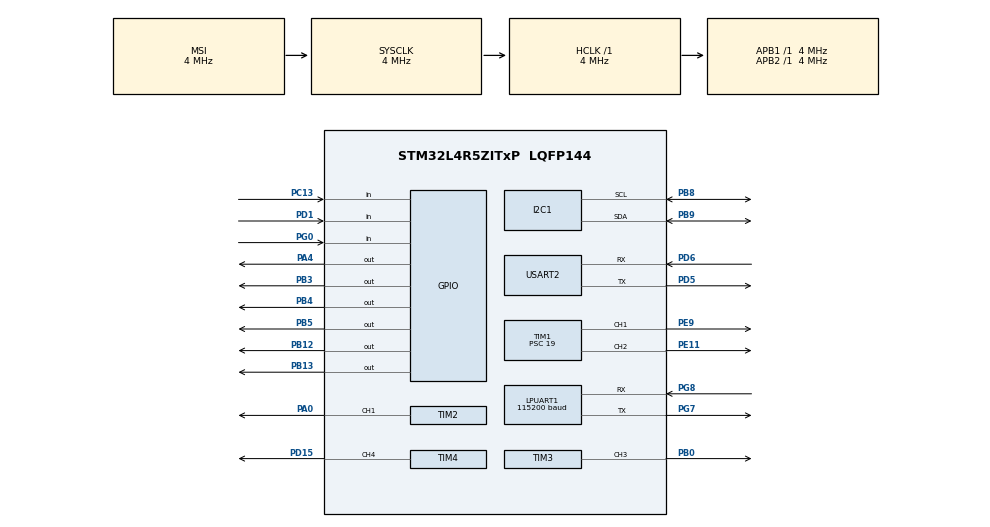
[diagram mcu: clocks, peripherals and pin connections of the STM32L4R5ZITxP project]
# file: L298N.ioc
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I2C1.CustomTiming=Disabled
LPUART1.BaudRate=115200
LPUART1.WordLength=UART_WORDLENGTH_8B
Mcu.Family=STM32L4
Mcu.Name=STM32L4R5ZITxP
Mcu.Package=LQFP144
NVIC.PriorityGroup=NVIC_PRIORITYGROUP_4
NVIC.USART2_IRQn=true\:0\:0\:false\:false\:true\:true\:true
PA0.Signal=S_TIM2_CH1
PA1.Signal=ADCx_IN6
PA10.Signal=USB_OTG_FS_ID
PA13\ (JTMS/SWDIO).Signal=SYS_JTMS-SWDIO
PA14\ (JTCK/SWCLK).Signal=SYS_JTCK-SWCLK
PA3.Signal=ADCx_IN8
PA4.Signal=GPIO_Output
PA5.Signal=SPI1_SCK
PA6.Signal=SPI1_MISO
PA7.Signal=SPI1_MOSI
PA8.Signal=USB_OTG_FS_SOF
PA9.Signal=USB_OTG_FS_VBUS
PB0.Signal=S_TIM3_CH3
PB1.Signal=ADCx_IN16
PB10.Signal=S_TIM2_CH3
PB12.Signal=GPIO_Output
PB13.Signal=GPIO_Output
PB14.Signal=S_TIM15_CH1
PB15.Signal=SAI2_SD_A
PB2.Signal=COMP1_INP
PB3\ (JTDO/TRACESWO).Signal=GPIO_Output
PB4\ (NJTRST).Signal=GPIO_Output
PB5.Signal=GPIO_Output
PB6.Signal=COMP2_INP
PB8.Mode=I2C
PB8.Signal=I2C1_SCL
PB9.Mode=I2C
PB9.Signal=I2C1_SDA
PC0.Signal=ADCx_IN1
PC1.Signal=ADCx_IN2
PC10.Signal=SDMMC1_D2
PC11.Signal=SDMMC1_D3
PC12.Signal=SDMMC1_CK
PC13.Signal=GPIO_Input
PC14-OSC32_IN\ (PC14).Signal=RCC_OSC32_IN
PC15-OSC32_OUT\ (PC15).Signal=RCC_OSC32_OUT
PC2.Signal=ADCx_IN3
PC3.Signal=ADCx_IN4
PC4.Signal=ADCx_IN13
PC5.Signal=ADCx_IN14
PC6.Signal=SAI2_MCLK_A
PC7.Signal=S_TIM3_CH2
PC8.Signal=SDMMC1_D0
PC9.Signal=SDMMC1_D1
PD0.Signal=CAN1_RX
PD1.Signal=GPIO_Input
PD14.Signal=S_TIM4_CH3
PD15.Signal=S_TIM4_CH4
PD2.Signal=SDMMC1_CMD
PD3.Signal=USART2_CTS
PD4.Signal=USART2_RTS
PD5.Mode=Asynchronous
PD5.Signal=USART2_TX
PD6.Mode=Asynchronous
PD6.Signal=USART2_RX
PD8.Signal=USART3_TX
PD9.Signal=USART3_RX
PE0.Signal=S_TIM4_ETR
PE10.Signal=TIM1_CH2N
PE11.Signal=S_TIM1_CH2
PE12.Signal=TIM1_CH3N
PE13.Signal=S_TIM1_CH3
PE14.Signal=TIM1_BKIN2
PE15.Signal=TIM1_BKIN
PE2.Signal=SAI1_MCLK_A
PE3.Signal=SAI1_SD_B
PE7.Signal=S_TIM1_ETR
PE8.Signal=TIM1_CH1N
PE9.Signal=S_TIM1_CH1
PF0.Signal=I2C2_SDA
PF1.Signal=I2C2_SCL
PF2.Signal=I2C2_SMBA
PF7.Signal=SAI1_MCLK_B
PG0.Signal=GPIO_Input
PG7.Mode=Asynchronous
PG7.Signal=LPUART1_TX
PG8.Mode=Asynchronous
PG8.Signal=LPUART1_RX
PH0-OSC_IN\ (PH0).Signal=RCC_OSC_IN
PH1-OSC_OUT\ (PH1).Signal=RCC_OSC_OUT
ProjectManager.HeapSize=0x200
ProjectManager.StackSize=0x400
ProjectManager.TargetToolchain=STM32CubeIDE
RCC.ADCFreq_Value=16000000
RCC.AHBFreq_Value=4000000
RCC.APB1Freq_Value=4000000
RCC.APB1TimFreq_Value=4000000
RCC.APB2Freq_Value=4000000
RCC.APB2TimFreq_Value=4000000
RCC.CortexFreq_Value=4000000
RCC.HCLKFreq_Value=4000000
RCC.HSE_VALUE=8000000
RCC.HSI48_VALUE=48000000
RCC.HSI_VALUE=16000000
RCC.LSE_VALUE=32768
RCC.MSI_VALUE=4000000
RCC.SYSCLKFreq_VALUE=4000000
RCC.USBFreq_Value=16000000
RCC.VCOOutputFreq_Value=32000000
SH.ADCx_IN1.0=ADC1_IN1
SH.ADCx_IN13.0=ADC1_IN13
SH.ADCx_IN14.0=ADC1_IN14
SH.ADCx_IN16.0=ADC1_IN16
SH.ADCx_IN2.0=ADC1_IN2
SH.ADCx_IN3.0=ADC1_IN3
SH.ADCx_IN4.0=ADC1_IN4
SH.ADCx_IN6.0=ADC1_IN6
SH.ADCx_IN8.0=ADC1_IN8
SH.S_TIM15_CH1.0=TIM15_CH1
SH.S_TIM1_CH1.0=TIM1_CH1,PWM Generation1 CH1
SH.S_TIM1_CH2.0=TIM1_CH2,PWM Generation2 CH2
SH.S_TIM1_CH3.0=TIM1_CH3
SH.S_TIM1_ETR.0=TIM1_ETR
SH.S_TIM2_CH1.0=TIM2_CH1,PWM Generation1 CH1
SH.S_TIM2_CH3.0=TIM2_CH3
SH.S_TIM3_CH2.0=TIM3_CH2
SH.S_TIM3_CH3.0=TIM3_CH3,PWM Generation3 CH3
SH.S_TIM4_CH3.0=TIM4_CH3
SH.S_TIM4_CH4.0=TIM4_CH4,PWM Generation4 CH4
SH.S_TIM4_ETR.0=TIM4_ETR
TIM1.Channel-PWM\ Generation1\ CH1=TIM_CHANNEL_1
TIM1.Channel-PWM\ Generation2\ CH2=TIM_CHANNEL_2
TIM1.Period=999
TIM1.Prescaler=19
TIM2.Channel-PWM\ Generation1\ CH1=TIM_CHANNEL_1
TIM2.Period=999
TIM2.Prescaler=19
TIM3.Channel-PWM\ Generation3\ CH3=TIM_CHANNEL_3
TIM3.Period=1999
TIM3.Prescaler=39
TIM3.Pulse-PWM\ Generation3\ CH3=150
TIM4.Channel-PWM\ Generation4\ CH4=TIM_CHANNEL_4
TIM4.Period=999
TIM4.Prescaler=19
USART2.FIFOMode=FIFOMODE_ENABLE
USART2.VirtualMode-Asynchronous=VM_ASYNC
VP_TIM1_VS_ClockSourceINT.Mode=Internal
VP_TIM2_VS_ClockSourceINT.Mode=Internal
VP_TIM3_VS_ClockSourceINT.Mode=Internal
VP_TIM4_VS_ClockSourceINT.Mode=Internal
board=NUCLEO-L4R5ZI-P

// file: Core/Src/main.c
/* USER CODE BEGIN Header */
/**
  ******************************************************************************
  * @file           : main.c
  * @brief          : Main program body
  ******************************************************************************
  * @attention
  *
  * Copyright (c) 2022 STMicroelectronics.
  * All rights reserved.
  *
  * This software is licensed under terms that can be found in the LICENSE file
  * in the root directory of this software component.
  * If no LICENSE file comes with this software, it is provided AS-IS.
  *
  ******************************************************************************
  */
/* USER CODE END Header */
#include "main.h"

/* USER CODE BEGIN Includes */
#include "stdio.h"
/* USER CODE END Includes */

/* USER CODE BEGIN PD */
// SAD
// Note: Addr_SEL is not soldered, so AD_SELECT is pulled up to VDD
// 		 the corresponding slave address is 0b1101 001x
#define SAD_W_M 0b11010010
#define SAD_R_M 0b11010011

// Registers
#define AMG88xx_PCTL 0x00
#define AMG88xx_RST 0x01
#define AMG88xx_FPSC 0x02
#define AMG88xx_INTC 0x03
#define AMG88xx_STAT 0x04
#define AMG88xx_SCLR 0x05
// 0x06 reserved
#define AMG88xx_AVE 0x07
#define AMG88xx_INTHL 0x08
#define AMG88xx_INTHH 0x09
#define AMG88xx_INTLL 0x0A
#define AMG88xx_INTLH 0x0B
#define AMG88xx_IHYSL 0x0C
#define AMG88xx_IHYSH 0x0D
#define AMG88xx_TTHL 0x0E
#define AMG88xx_TTHH 0x0F
#define AMG88xx_INT_OFFSET 0x010
#define AMG88xx_PIXEL_OFFSET 0x80

// Power mode
#define AMG88xx_NORMAL_MODE 0x00
#define AMG88xx_SLEEP_MODE 0x01
#define AMG88xx_STAND_BY_60 0x20
#define AMG88xx_STAND_BY_10 0x21

// Reset
#define AMG88xx_FLAG_RESET 0x30
#define AMG88xx_INITIAL_RESET 0x3F

// Frame Rate
#define AMG88xx_FPS_10 0x00
#define AMG88xx_FPS_1 0x01

// Other constants
#define AMG88xx_PIXEL_TEMP_CONVERSION .25
#define AMG88xx_THERMISTOR_CONVERSION .0625

#define CLEARTOFIRE 10

#define BASE_SPEED 750
#define LOW_SPEED 0
#define BACK_SPEED 800
#define HIGH_SPEED 1000
/* USER CODE END PD */

I2C_HandleTypeDef hi2c1;

UART_HandleTypeDef hlpuart1;
UART_HandleTypeDef huart2;

TIM_HandleTypeDef htim1;
TIM_HandleTypeDef htim2;
TIM_HandleTypeDef htim3;
TIM_HandleTypeDef htim4;

/* USER CODE BEGIN PV */
uint8_t uart_buf[1] = {};
int armed = 0;
int send_off = 0;
int position = 0;
/* USER CODE END PV */

void SystemClock_Config(void);
static void MX_GPIO_Init(void);
static void MX_TIM2_Init(void);
static void MX_TIM1_Init(void);
static void MX_I2C1_Init(void);
static void MX_LPUART1_UART_Init(void);
static void MX_TIM3_Init(void);
static void MX_TIM4_Init(void);
static void MX_USART2_UART_Init(void);

/* USER CODE BEGIN 0 */
HAL_StatusTypeDef ret;
int current_angle;
int lock_on = 0;

int int12ToFloat(uint16_t val) {
  int16_t sVal =
      (val << 4); // shift to left so that sign bit of 12 bit integer number is
                  // placed on sign bit of 16 bit signed integer number
  return sVal >> 4; // shift back the signed number, return converts to float
}

void startShooting() {
	__HAL_TIM_SET_COMPARE(&htim4, TIM_CHANNEL_4, 800);
	HAL_GPIO_WritePin(GPIOB, GPIO_PIN_12,  1);	// PB12
	HAL_GPIO_WritePin(GPIOB, GPIO_PIN_13,  0);	// PB13
}

void stopShooting() {
	__HAL_TIM_SET_COMPARE(&htim4, TIM_CHANNEL_4, 0);
	HAL_GPIO_WritePin(GPIOB, GPIO_PIN_12,  0);	// PB12
	HAL_GPIO_WritePin(GPIOB, GPIO_PIN_13,  0);	// PB13
}

void aimMode() {
	float pixels[64] = {};
	__HAL_TIM_SET_COMPARE(&htim1, TIM_CHANNEL_1, 1000);		// set the new pulse width
	__HAL_TIM_SET_COMPARE(&htim2, TIM_CHANNEL_1, 1000);		// set the new pulse width
	int timer = 0;
	while (1) {
		GPIO_PinState button = HAL_GPIO_ReadPin(GPIOC, GPIO_PIN_13);
		if (armed == 0 || button == 1 || timer >= 2000) {
		  armed = 0;
		  HAL_Delay(500);
		  current_angle = -15;
		  HAL_GPIO_WritePin(GPIOA, GPIO_PIN_4,  1);	// PA4 = H
		  HAL_GPIO_WritePin(GPIOB, GPIO_PIN_4,  1);	// PB4 = H
		  HAL_GPIO_WritePin(GPIOB, GPIO_PIN_3,  1);	// PB3 = H
		  HAL_GPIO_WritePin(GPIOB, GPIO_PIN_5,  1);	// PB5 = H
		   __HAL_TIM_SET_COMPARE(&htim3, TIM_CHANNEL_3, (240 - 60) * (current_angle + 90) / 180 + 60);		// set the new pulse width
		  break;
		}
		timer+=10;
		// Step 1: Read the thermal camera
		  uint8_t rawArray[128]= {AMG88xx_PIXEL_OFFSET};	// float is 16-bit, so buffer size needs to be at least 64*2=128
		  uint16_t recast;
		  float converted;

		  ret = HAL_I2C_Master_Transmit(&hi2c1, SAD_W_M, &rawArray[0], 1, 1000);
		  ret = HAL_I2C_Master_Receive(&hi2c1, SAD_R_M, &rawArray[0], 128, 1000);

		  for (int i = 0; i < 64; i++) {
		    uint8_t pos = i << 1;
		    recast = ((uint16_t)rawArray[pos + 1] << 8) | ((uint16_t)rawArray[pos]);
		    converted = int12ToFloat(recast) * AMG88xx_PIXEL_TEMP_CONVERSION;
		    pixels[i] = converted;
		  }

		  int largest_x = 0;
		  int largest_y = 0;
		  float largest_pix = 0;

		  for (int i = 0; i < 8; ++i) {
			  for (int j = 0; j < 8; ++j) {
				  if (pixels[i*8 + j] > largest_pix) {
		    			largest_x = j;
		    			largest_y = i;
		    			largest_pix = pixels[i*8 + j];
		    		}
			  }
		  }
		  if (largest_x < 3) {
			  // Turn Left
			  printf("Turn Left\n\r");
			  HAL_GPIO_WritePin(GPIOA, GPIO_PIN_4,  0);	// PA4 = L
			  HAL_GPIO_WritePin(GPIOB, GPIO_PIN_4,  1);	// PB4 = H
			  HAL_GPIO_WritePin(GPIOB, GPIO_PIN_3,  1);	// PB3 = High
			  HAL_GPIO_WritePin(GPIOB, GPIO_PIN_5,  0);	// PB5 = LOW
			  position--;
		  }else if (largest_x > 4) {
			  // Turn Right
			  printf("Turn Right\n\r");
			  HAL_GPIO_WritePin(GPIOA, GPIO_PIN_4,  1);	// PA4 = High
			  HAL_GPIO_WritePin(GPIOB, GPIO_PIN_4,  0);	// PB4 = LOW
			  HAL_GPIO_WritePin(GPIOB, GPIO_PIN_3,  0);	// PB3 = L
			  HAL_GPIO_WritePin(GPIOB, GPIO_PIN_5,  1);	// PB5 = H
			  position++;
		  }else {
			  // Hold
			  printf("Hold Still\n\r");
			  HAL_GPIO_WritePin(GPIOA, GPIO_PIN_4,  1);	// PA4 = H
			  HAL_GPIO_WritePin(GPIOB, GPIO_PIN_4,  1);	// PB4 = H
			  HAL_GPIO_WritePin(GPIOB, GPIO_PIN_3,  1);	// PB3 = H
			  HAL_GPIO_WritePin(GPIOB, GPIO_PIN_5,  1);	// PB5 = H
			  lock_on += 1;
		  }

		  if (lock_on >= CLEARTOFIRE) {
			  startShooting();
			  for (int t = 0; t < 100; ++t) {
				  if (armed == 0) {
					  break;
				  }
				  HAL_Delay(45);
			  }
			  stopShooting();
			  lock_on = 0;
			  timer += 1000;
		  }

		  if (largest_y < 3) {
			  // Move Down
			  if (current_angle >= -13) {
				  current_angle -= 2;
				  __HAL_TIM_SET_COMPARE(&htim3, TIM_CHANNEL_3, (240 - 60) * (current_angle + 90) / 180 + 60);		// set the new pulse width
			  }
		  } else if (largest_y > 4) {
			  // Move Up
			  if (current_angle <= 23) {
				  current_angle += 2;
				  __HAL_TIM_SET_COMPARE(&htim3, TIM_CHANNEL_3, (240 - 60) * (current_angle + 90) / 180 + 60);		// set the new pulse width
			  }
		  } else {
			  // Hold
		  }

		  HAL_Delay(100);
	}
}

void turnAround() {
	// Turn in clockwise direction
	__HAL_TIM_SET_COMPARE(&htim1, TIM_CHANNEL_1, BASE_SPEED);		// set the new pulse width
	__HAL_TIM_SET_COMPARE(&htim2, TIM_CHANNEL_1, BASE_SPEED);

	if (position >= 0) {
	// right
	HAL_GPIO_WritePin(GPIOA, GPIO_PIN_4,  0);	// PA4
	HAL_GPIO_WritePin(GPIOB, GPIO_PIN_4,  1);	// PB4
	// left
	HAL_GPIO_WritePin(GPIOB, GPIO_PIN_3,  1);	// PB3
	HAL_GPIO_WritePin(GPIOB, GPIO_PIN_5,  0);	// PB5
	}
	else {
		// right
			HAL_GPIO_WritePin(GPIOA, GPIO_PIN_4,  1);	// PA4
			HAL_GPIO_WritePin(GPIOB, GPIO_PIN_4,  0);	// PB4
			// left
			HAL_GPIO_WritePin(GPIOB, GPIO_PIN_3,  0);	// PB3
			HAL_GPIO_WritePin(GPIOB, GPIO_PIN_5,  1);	// PB5
	}

	GPIO_PinState leftIR = HAL_GPIO_ReadPin(GPIOD, GPIO_PIN_1);
	GPIO_PinState rightIR = HAL_GPIO_ReadPin(GPIOG, GPIO_PIN_0);
	int timer = 0;
	while (leftIR == 0 && rightIR == 0) {
		leftIR = HAL_GPIO_ReadPin(GPIOD, GPIO_PIN_1);
		rightIR = HAL_GPIO_ReadPin(GPIOG, GPIO_PIN_0);
		if (timer >= 30000) {
			if (position >= 0) {
			// right
			HAL_GPIO_WritePin(GPIOA, GPIO_PIN_4,  1);	// PA4
			HAL_GPIO_WritePin(GPIOB, GPIO_PIN_4,  0);	// PB4
			// left
			HAL_GPIO_WritePin(GPIOB, GPIO_PIN_3,  0);	// PB3
			HAL_GPIO_WritePin(GPIOB, GPIO_PIN_5,  1);	// PB5
			__HAL_TIM_SET_COMPARE(&htim1, TIM_CHANNEL_1, HIGH_SPEED);		// right
			__HAL_TIM_SET_COMPARE(&htim2, TIM_CHANNEL_1, BACK_SPEED);		// left

			HAL_Delay(50);

			// right
			HAL_GPIO_WritePin(GPIOA, GPIO_PIN_4,  0);	// PA4
			HAL_GPIO_WritePin(GPIOB, GPIO_PIN_4,  1);	// PB4
			// left
			HAL_GPIO_WritePin(GPIOB, GPIO_PIN_3,  1);	// PB3
			HAL_GPIO_WritePin(GPIOB, GPIO_PIN_5,  0);	// PB5
			__HAL_TIM_SET_COMPARE(&htim1, TIM_CHANNEL_1, BACK_SPEED);		// right
			__HAL_TIM_SET_COMPARE(&htim2, TIM_CHANNEL_1, HIGH_SPEED);		// left
			} else {
				// right
							HAL_GPIO_WritePin(GPIOA, GPIO_PIN_4,  0);	// PA4
							HAL_GPIO_WritePin(GPIOB, GPIO_PIN_4,  1);	// PB4
							// left
							HAL_GPIO_WritePin(GPIOB, GPIO_PIN_3,  1);	// PB3
							HAL_GPIO_WritePin(GPIOB, GPIO_PIN_5,  0);	// PB5
							__HAL_TIM_SET_COMPARE(&htim1, TIM_CHANNEL_1, BACK_SPEED);		// right
							__HAL_TIM_SET_COMPARE(&htim2, TIM_CHANNEL_1, HIGH_SPEED);		// left

							HAL_Delay(50);

							// right
							HAL_GPIO_WritePin(GPIOA, GPIO_PIN_4,  1);	// PA4
							HAL_GPIO_WritePin(GPIOB, GPIO_PIN_4,  0);	// PB4
							// left
							HAL_GPIO_WritePin(GPIOB, GPIO_PIN_3,  0);	// PB3
							HAL_GPIO_WritePin(GPIOB, GPIO_PIN_5,  1);	// PB5
							__HAL_TIM_SET_COMPARE(&htim1, TIM_CHANNEL_1, HIGH_SPEED);		// right
							__HAL_TIM_SET_COMPARE(&htim2, TIM_CHANNEL_1, BACK_SPEED);		// left
			}

			timer = 0;
		}
		timer++;
	}
	// right
	HAL_GPIO_WritePin(GPIOA, GPIO_PIN_4,  0);	// PA4
	HAL_GPIO_WritePin(GPIOB, GPIO_PIN_4,  0);	// PB4
	// left
	HAL_GPIO_WritePin(GPIOB, GPIO_PIN_3,  0);	// PB3
	HAL_GPIO_WritePin(GPIOB, GPIO_PIN_5,  0);	// PB5
}

void lineFollowingMode() {
	__HAL_TIM_SET_COMPARE(&htim1, TIM_CHANNEL_1, BASE_SPEED);		// set the new pulse width
	__HAL_TIM_SET_COMPARE(&htim2, TIM_CHANNEL_1, BASE_SPEED);
	  HAL_GPIO_WritePin(GPIOA, GPIO_PIN_4,  1);	// PA4
	  HAL_GPIO_WritePin(GPIOB, GPIO_PIN_4,  0);	// PB4
	  HAL_GPIO_WritePin(GPIOB, GPIO_PIN_3,  1);	// PB3
	  HAL_GPIO_WritePin(GPIOB, GPIO_PIN_5,  0);	// PB5
	int counter = 0;
	int go_home = 0;
	while (1)
	  {
		GPIO_PinState button = HAL_GPIO_ReadPin(GPIOC, GPIO_PIN_13);
		if (button == 1) {
			HAL_GPIO_WritePin(GPIOA, GPIO_PIN_4,  0);	// PA4
			HAL_GPIO_WritePin(GPIOB, GPIO_PIN_4,  0);	// PB4
			HAL_GPIO_WritePin(GPIOB, GPIO_PIN_3,  0);	// PB3
			HAL_GPIO_WritePin(GPIOB, GPIO_PIN_5,  0);	// PB5
		  HAL_Delay(500);
		  aimMode();
		  break;
		}
		if (armed == 0) {
			go_home = 1;
		}
		counter++;
		  GPIO_PinState leftIR = HAL_GPIO_ReadPin(GPIOD, GPIO_PIN_1);
		  GPIO_PinState rightIR = HAL_GPIO_ReadPin(GPIOG, GPIO_PIN_0);
		  if (leftIR == 0 && rightIR == 0) {
			  // right
			  HAL_GPIO_WritePin(GPIOA, GPIO_PIN_4,  1);	// PA4
			  HAL_GPIO_WritePin(GPIOB, GPIO_PIN_4,  0);	// PB4
			  // left
			  HAL_GPIO_WritePin(GPIOB, GPIO_PIN_3,  1);	// PB3
			  HAL_GPIO_WritePin(GPIOB, GPIO_PIN_5,  0);	// PB5
			  __HAL_TIM_SET_COMPARE(&htim1, TIM_CHANNEL_1, BASE_SPEED);		// right
			  __HAL_TIM_SET_COMPARE(&htim2, TIM_CHANNEL_1, BASE_SPEED);		// left
		  } else if (leftIR == 1 && rightIR == 0) {
			  // Leaning to the right
			  // Need to turn left
			  // right
			  HAL_GPIO_WritePin(GPIOA, GPIO_PIN_4,  1);	// PA4
			  HAL_GPIO_WritePin(GPIOB, GPIO_PIN_4,  0);	// PB4
			  // left
			  HAL_GPIO_WritePin(GPIOB, GPIO_PIN_3,  0);	// PB3
			  HAL_GPIO_WritePin(GPIOB, GPIO_PIN_5,  1);	// PB5
			  __HAL_TIM_SET_COMPARE(&htim1, TIM_CHANNEL_1, HIGH_SPEED);		// right
			  __HAL_TIM_SET_COMPARE(&htim2, TIM_CHANNEL_1, BACK_SPEED);		// left
		  } else if (leftIR == 0 && rightIR == 1) {
			  // Leaning to the left
			  // Need to turn right
			  // right
			  HAL_GPIO_WritePin(GPIOA, GPIO_PIN_4,  0);	// PA4
			  HAL_GPIO_WritePin(GPIOB, GPIO_PIN_4,  1);	// PB4
			  // left
			  HAL_GPIO_WritePin(GPIOB, GPIO_PIN_3,  1);	// PB3
			  HAL_GPIO_WritePin(GPIOB, GPIO_PIN_5,  0);	// PB5
			  __HAL_TIM_SET_COMPARE(&htim1, TIM_CHANNEL_1, BACK_SPEED);		// right
			  __HAL_TIM_SET_COMPARE(&htim2, TIM_CHANNEL_1, HIGH_SPEED);		// left
		  } else {
			  HAL_GPIO_WritePin(GPIOA, GPIO_PIN_4,  1);	// PA4
			  HAL_GPIO_WritePin(GPIOB, GPIO_PIN_4,  0);	// PB4
			  HAL_GPIO_WritePin(GPIOB, GPIO_PIN_3,  1);	// PB3
			  HAL_GPIO_WritePin(GPIOB, GPIO_PIN_5,  0);	// PB5

			  // wait to pass the point a little bit
			  if (go_home == 1) {
				  HAL_Delay(300);
			  } else {
				  HAL_Delay(400);
			  }

			  HAL_GPIO_WritePin(GPIOA, GPIO_PIN_4,  0);	// PA4
			  HAL_GPIO_WritePin(GPIOB, GPIO_PIN_4,  0);	// PB4
			  HAL_GPIO_WritePin(GPIOB, GPIO_PIN_3,  0);	// PB3
			  HAL_GPIO_WritePin(GPIOB, GPIO_PIN_5,  0);	// PB5

			  if (go_home == 1) {
			  	break;
			  }

			  HAL_Delay(1000);

			  aimMode();

			  HAL_Delay(1000);
			  turnAround();
			  HAL_Delay(1000);
			  go_home = 1;
			  // go back home
			  // return
		  }
	  }
}

/* USER CODE END 0 */

int main(void)
{

  /* MCU Configuration--------------------------------------------------------*/

  /* Reset of all peripherals, Initializes the Flash interface and the Systick. */
  HAL_Init();

  /* Configure the system clock */
  SystemClock_Config();

  /* Initialize all configured peripherals */
  MX_GPIO_Init();
  MX_TIM2_Init();
  MX_TIM1_Init();
  MX_I2C1_Init();
  MX_LPUART1_UART_Init();
  MX_TIM3_Init();
  MX_TIM4_Init();
  MX_USART2_UART_Init();
  /* USER CODE BEGIN 2 */
  // I2C initialization
  // enter normal mode
  uint8_t buf_mode[10]= {AMG88xx_PCTL, AMG88xx_NORMAL_MODE};
  ret = HAL_I2C_Master_Transmit(&hi2c1, SAD_W_M, &buf_mode[0], 2, 1000);
  ret = HAL_I2C_Master_Receive(&hi2c1, SAD_R_M, &buf_mode[0], 1, 1000);

  // software reset
  uint8_t buf_rst[10]= {AMG88xx_RST, AMG88xx_INITIAL_RESET};
  ret = HAL_I2C_Master_Transmit(&hi2c1, SAD_W_M, &buf_rst[0], 2, 1000);

  // disable interrupts by default
  uint8_t buf_int[10]= {AMG88xx_INTC, 0};
  ret = HAL_I2C_Master_Transmit(&hi2c1, SAD_W_M, &buf_int[0], 2, 1000);
  ret = HAL_I2C_Master_Receive(&hi2c1, SAD_R_M, &buf_int[0], 1, 1000);

  // set to 10 FPS
  uint8_t buf_fps[10]= {AMG88xx_FPSC, AMG88xx_FPS_10};
  ret = HAL_I2C_Master_Transmit(&hi2c1, SAD_W_M, &buf_fps[0], 2, 1000);
  ret = HAL_I2C_Master_Receive(&hi2c1, SAD_R_M, &buf_fps[0], 1, 1000);

  HAL_Delay(100);

  // PWM initialization

  HAL_TIM_PWM_Start(&htim1, TIM_CHANNEL_1);
  HAL_TIM_PWM_Start(&htim2, TIM_CHANNEL_1);
  HAL_TIM_PWM_Start(&htim3, TIM_CHANNEL_3);
  HAL_TIM_PWM_Start(&htim4, TIM_CHANNEL_4);
  HAL_GPIO_WritePin(GPIOA, GPIO_PIN_4,  0);	// PA4
  HAL_GPIO_WritePin(GPIOB, GPIO_PIN_4,  0);	// PB4
  HAL_GPIO_WritePin(GPIOB, GPIO_PIN_3,  0);	// PB3
  HAL_GPIO_WritePin(GPIOB, GPIO_PIN_5,  0);	// PB5

  HAL_GPIO_WritePin(GPIOB, GPIO_PIN_12,  0);	// PB12
  HAL_GPIO_WritePin(GPIOB, GPIO_PIN_13,  0);	// PB13
  // wheels
  __HAL_TIM_SET_COMPARE(&htim1, TIM_CHANNEL_1, 600);		// set the new pulse width
  __HAL_TIM_SET_COMPARE(&htim2, TIM_CHANNEL_1, 600);		// set the new pulse width
  // gun shooting
  __HAL_TIM_SET_COMPARE(&htim4, TIM_CHANNEL_4, 800);
  // servo
  current_angle = -15;
  __HAL_TIM_SET_COMPARE(&htim3, TIM_CHANNEL_3, (240 - 60) * (current_angle + 90) / 180 + 60);		// set the new pulse width

  armed = 0;
  HAL_UART_Receive_IT(&huart2, uart_buf, 1);

  HAL_Delay(100);
  /* USER CODE END 2 */

  /* Infinite loop */
  /* USER CODE BEGIN WHILE */
  while (1)
  {
	  GPIO_PinState button = HAL_GPIO_ReadPin(GPIOC, GPIO_PIN_13);
	  if ((armed == 1 && send_off == 1) || button != 0) {
		  armed = 1;
		  send_off = 0;
		  position = 0;
		  HAL_Delay(500);
		  //aimMode();
		  lineFollowingMode();
		  //turnAround();
	  }
    /* USER CODE END WHILE */

  }
}

void SystemClock_Config(void)
{
  RCC_OscInitTypeDef RCC_OscInitStruct = {0};
  RCC_ClkInitTypeDef RCC_ClkInitStruct = {0};

  /** Configure the main internal regulator output voltage
  */
  if (HAL_PWREx_ControlVoltageScaling(PWR_REGULATOR_VOLTAGE_SCALE1) != HAL_OK)
  {
    Error_Handler();
  }
  /** Initializes the RCC Oscillators according to the specified parameters
  * in the RCC_OscInitTypeDef structure.
  */
  RCC_OscInitStruct.OscillatorType = RCC_OSCILLATORTYPE_MSI;
  RCC_OscInitStruct.MSIState = RCC_MSI_ON;
  RCC_OscInitStruct.MSICalibrationValue = 0;
  RCC_OscInitStruct.MSIClockRange = RCC_MSIRANGE_6;
  RCC_OscInitStruct.PLL.PLLState = RCC_PLL_NONE;
  if (HAL_RCC_OscConfig(&RCC_OscInitStruct) != HAL_OK)
  {
    Error_Handler();
  }
  /** Initializes the CPU, AHB and APB buses clocks
  */
  RCC_ClkInitStruct.ClockType = RCC_CLOCKTYPE_HCLK|RCC_CLOCKTYPE_SYSCLK
                              |RCC_CLOCKTYPE_PCLK1|RCC_CLOCKTYPE_PCLK2;
  RCC_ClkInitStruct.SYSCLKSource = RCC_SYSCLKSOURCE_MSI;
  RCC_ClkInitStruct.AHBCLKDivider = RCC_SYSCLK_DIV1;
  RCC_ClkInitStruct.APB1CLKDivider = RCC_HCLK_DIV1;
  RCC_ClkInitStruct.APB2CLKDivider = RCC_HCLK_DIV1;

  if (HAL_RCC_ClockConfig(&RCC_ClkInitStruct, FLASH_LATENCY_0) != HAL_OK)
  {
    Error_Handler();
  }
}

static void MX_I2C1_Init(void)
{

  hi2c1.Instance = I2C1;
  hi2c1.Init.Timing = 0x00000E14;
  hi2c1.Init.OwnAddress1 = 0;
  hi2c1.Init.AddressingMode = I2C_ADDRESSINGMODE_7BIT;
  hi2c1.Init.DualAddressMode = I2C_DUALADDRESS_DISABLE;
  hi2c1.Init.OwnAddress2 = 0;
  hi2c1.Init.OwnAddress2Masks = I2C_OA2_NOMASK;
  hi2c1.Init.GeneralCallMode = I2C_GENERALCALL_DISABLE;
  hi2c1.Init.NoStretchMode = I2C_NOSTRETCH_DISABLE;
  if (HAL_I2C_Init(&hi2c1) != HAL_OK)
  {
    Error_Handler();
  }
  /** Configure Analogue filter
  */
  if (HAL_I2CEx_ConfigAnalogFilter(&hi2c1, I2C_ANALOGFILTER_ENABLE) != HAL_OK)
  {
    Error_Handler();
  }
  /** Configure Digital filter
  */
  if (HAL_I2CEx_ConfigDigitalFilter(&hi2c1, 0) != HAL_OK)
  {
    Error_Handler();
  }

}

static void MX_LPUART1_UART_Init(void)
{

  hlpuart1.Instance = LPUART1;
  hlpuart1.Init.BaudRate = 115200;
  hlpuart1.Init.WordLength = UART_WORDLENGTH_8B;
  hlpuart1.Init.StopBits = UART_STOPBITS_1;
  hlpuart1.Init.Parity = UART_PARITY_NONE;
  hlpuart1.Init.Mode = UART_MODE_TX_RX;
  hlpuart1.Init.HwFlowCtl = UART_HWCONTROL_NONE;
  hlpuart1.Init.OneBitSampling = UART_ONE_BIT_SAMPLE_DISABLE;
  hlpuart1.Init.ClockPrescaler = UART_PRESCALER_DIV1;
  hlpuart1.AdvancedInit.AdvFeatureInit = UART_ADVFEATURE_NO_INIT;
  hlpuart1.FifoMode = UART_FIFOMODE_DISABLE;
  if (HAL_UART_Init(&hlpuart1) != HAL_OK)
  {
    Error_Handler();
  }
  if (HAL_UARTEx_SetTxFifoThreshold(&hlpuart1, UART_TXFIFO_THRESHOLD_1_8) != HAL_OK)
  {
    Error_Handler();
  }
  if (HAL_UARTEx_SetRxFifoThreshold(&hlpuart1, UART_RXFIFO_THRESHOLD_1_8) != HAL_OK)
  {
    Error_Handler();
  }
  if (HAL_UARTEx_DisableFifoMode(&hlpuart1) != HAL_OK)
  {
    Error_Handler();
  }

}

static void MX_USART2_UART_Init(void)
{

  huart2.Instance = USART2;
  huart2.Init.BaudRate = 115200;
  huart2.Init.WordLength = UART_WORDLENGTH_8B;
  huart2.Init.StopBits = UART_STOPBITS_1;
  huart2.Init.Parity = UART_PARITY_NONE;
  huart2.Init.Mode = UART_MODE_TX_RX;
  huart2.Init.HwFlowCtl = UART_HWCONTROL_NONE;
  huart2.Init.OverSampling = UART_OVERSAMPLING_16;
  huart2.Init.OneBitSampling = UART_ONE_BIT_SAMPLE_DISABLE;
  huart2.Init.ClockPrescaler = UART_PRESCALER_DIV1;
  huart2.AdvancedInit.AdvFeatureInit = UART_ADVFEATURE_NO_INIT;
  if (HAL_UART_Init(&huart2) != HAL_OK)
  {
    Error_Handler();
  }
  if (HAL_UARTEx_SetTxFifoThreshold(&huart2, UART_TXFIFO_THRESHOLD_1_8) != HAL_OK)
  {
    Error_Handler();
  }
  if (HAL_UARTEx_SetRxFifoThreshold(&huart2, UART_RXFIFO_THRESHOLD_1_8) != HAL_OK)
  {
    Error_Handler();
  }
  if (HAL_UARTEx_EnableFifoMode(&huart2) != HAL_OK)
  {
    Error_Handler();
  }

}

static void MX_TIM1_Init(void)
{

  TIM_ClockConfigTypeDef sClockSourceConfig = {0};
  TIM_MasterConfigTypeDef sMasterConfig = {0};
  TIM_OC_InitTypeDef sConfigOC = {0};
  TIM_BreakDeadTimeConfigTypeDef sBreakDeadTimeConfig = {0};

  htim1.Instance = TIM1;
  htim1.Init.Prescaler = 19;
  htim1.Init.CounterMode = TIM_COUNTERMODE_UP;
  htim1.Init.Period = 999;
  htim1.Init.ClockDivision = TIM_CLOCKDIVISION_DIV1;
  htim1.Init.RepetitionCounter = 0;
  htim1.Init.AutoReloadPreload = TIM_AUTORELOAD_PRELOAD_DISABLE;
  if (HAL_TIM_Base_Init(&htim1) != HAL_OK)
  {
    Error_Handler();
  }
  sClockSourceConfig.ClockSource = TIM_CLOCKSOURCE_INTERNAL;
  if (HAL_TIM_ConfigClockSource(&htim1, &sClockSourceConfig) != HAL_OK)
  {
    Error_Handler();
  }
  if (HAL_TIM_PWM_Init(&htim1) != HAL_OK)
  {
    Error_Handler();
  }
  sMasterConfig.MasterOutputTrigger = TIM_TRGO_RESET;
  sMasterConfig.MasterOutputTrigger2 = TIM_TRGO2_RESET;
  sMasterConfig.MasterSlaveMode = TIM_MASTERSLAVEMODE_DISABLE;
  if (HAL_TIMEx_MasterConfigSynchronization(&htim1, &sMasterConfig) != HAL_OK)
  {
    Error_Handler();
  }
  sConfigOC.OCMode = TIM_OCMODE_PWM1;
  sConfigOC.Pulse = 0;
  sConfigOC.OCPolarity = TIM_OCPOLARITY_HIGH;
  sConfigOC.OCNPolarity = TIM_OCNPOLARITY_HIGH;
  sConfigOC.OCFastMode = TIM_OCFAST_DISABLE;
  sConfigOC.OCIdleState = TIM_OCIDLESTATE_RESET;
  sConfigOC.OCNIdleState = TIM_OCNIDLESTATE_RESET;
  if (HAL_TIM_PWM_ConfigChannel(&htim1, &sConfigOC, TIM_CHANNEL_1) != HAL_OK)
  {
    Error_Handler();
  }
  if (HAL_TIM_PWM_ConfigChannel(&htim1, &sConfigOC, TIM_CHANNEL_2) != HAL_OK)
  {
    Error_Handler();
  }
  sBreakDeadTimeConfig.OffStateRunMode = TIM_OSSR_DISABLE;
  sBreakDeadTimeConfig.OffStateIDLEMode = TIM_OSSI_DISABLE;
  sBreakDeadTimeConfig.LockLevel = TIM_LOCKLEVEL_OFF;
  sBreakDeadTimeConfig.DeadTime = 0;
  sBreakDeadTimeConfig.BreakState = TIM_BREAK_DISABLE;
  sBreakDeadTimeConfig.BreakPolarity = TIM_BREAKPOLARITY_HIGH;
  sBreakDeadTimeConfig.BreakFilter = 0;
  sBreakDeadTimeConfig.Break2State = TIM_BREAK2_DISABLE;
  sBreakDeadTimeConfig.Break2Polarity = TIM_BREAK2POLARITY_HIGH;
  sBreakDeadTimeConfig.Break2Filter = 0;
  sBreakDeadTimeConfig.AutomaticOutput = TIM_AUTOMATICOUTPUT_DISABLE;
  if (HAL_TIMEx_ConfigBreakDeadTime(&htim1, &sBreakDeadTimeConfig) != HAL_OK)
  {
    Error_Handler();
  }
  HAL_TIM_MspPostInit(&htim1);

}

static void MX_TIM2_Init(void)
{

  TIM_ClockConfigTypeDef sClockSourceConfig = {0};
  TIM_MasterConfigTypeDef sMasterConfig = {0};
  TIM_OC_InitTypeDef sConfigOC = {0};

  htim2.Instance = TIM2;
  htim2.Init.Prescaler = 19;
  htim2.Init.CounterMode = TIM_COUNTERMODE_UP;
  htim2.Init.Period = 999;
  htim2.Init.ClockDivision = TIM_CLOCKDIVISION_DIV1;
  htim2.Init.AutoReloadPreload = TIM_AUTORELOAD_PRELOAD_DISABLE;
  if (HAL_TIM_Base_Init(&htim2) != HAL_OK)
  {
    Error_Handler();
  }
  sClockSourceConfig.ClockSource = TIM_CLOCKSOURCE_INTERNAL;
  if (HAL_TIM_ConfigClockSource(&htim2, &sClockSourceConfig) != HAL_OK)
  {
    Error_Handler();
  }
  if (HAL_TIM_PWM_Init(&htim2) != HAL_OK)
  {
    Error_Handler();
  }
  sMasterConfig.MasterOutputTrigger = TIM_TRGO_RESET;
  sMasterConfig.MasterSlaveMode = TIM_MASTERSLAVEMODE_DISABLE;
  if (HAL_TIMEx_MasterConfigSynchronization(&htim2, &sMasterConfig) != HAL_OK)
  {
    Error_Handler();
  }
  sConfigOC.OCMode = TIM_OCMODE_PWM1;
  sConfigOC.Pulse = 0;
  sConfigOC.OCPolarity = TIM_OCPOLARITY_HIGH;
  sConfigOC.OCFastMode = TIM_OCFAST_DISABLE;
  if (HAL_TIM_PWM_ConfigChannel(&htim2, &sConfigOC, TIM_CHANNEL_1) != HAL_OK)
  {
    Error_Handler();
  }
  HAL_TIM_MspPostInit(&htim2);

}

static void MX_TIM3_Init(void)
{

  TIM_ClockConfigTypeDef sClockSourceConfig = {0};
  TIM_MasterConfigTypeDef sMasterConfig = {0};
  TIM_OC_InitTypeDef sConfigOC = {0};

  htim3.Instance = TIM3;
  htim3.Init.Prescaler = 39;
  htim3.Init.CounterMode = TIM_COUNTERMODE_UP;
  htim3.Init.Period = 1999;
  htim3.Init.ClockDivision = TIM_CLOCKDIVISION_DIV1;
  htim3.Init.AutoReloadPreload = TIM_AUTORELOAD_PRELOAD_DISABLE;
  if (HAL_TIM_Base_Init(&htim3) != HAL_OK)
  {
    Error_Handler();
  }
  sClockSourceConfig.ClockSource = TIM_CLOCKSOURCE_INTERNAL;
  if (HAL_TIM_ConfigClockSource(&htim3, &sClockSourceConfig) != HAL_OK)
  {
    Error_Handler();
  }
  if (HAL_TIM_PWM_Init(&htim3) != HAL_OK)
  {
    Error_Handler();
  }
  sMasterConfig.MasterOutputTrigger = TIM_TRGO_RESET;
  sMasterConfig.MasterSlaveMode = TIM_MASTERSLAVEMODE_DISABLE;
  if (HAL_TIMEx_MasterConfigSynchronization(&htim3, &sMasterConfig) != HAL_OK)
  {
    Error_Handler();
  }
  sConfigOC.OCMode = TIM_OCMODE_PWM1;
  sConfigOC.Pulse = 150;
  sConfigOC.OCPolarity = TIM_OCPOLARITY_HIGH;
  sConfigOC.OCFastMode = TIM_OCFAST_DISABLE;
  if (HAL_TIM_PWM_ConfigChannel(&htim3, &sConfigOC, TIM_CHANNEL_3) != HAL_OK)
  {
    Error_Handler();
  }
  HAL_TIM_MspPostInit(&htim3);

}

static void MX_TIM4_Init(void)
{

  TIM_ClockConfigTypeDef sClockSourceConfig = {0};
  TIM_MasterConfigTypeDef sMasterConfig = {0};
  TIM_OC_InitTypeDef sConfigOC = {0};

  htim4.Instance = TIM4;
  htim4.Init.Prescaler = 19;
  htim4.Init.CounterMode = TIM_COUNTERMODE_UP;
  htim4.Init.Period = 999;
  htim4.Init.ClockDivision = TIM_CLOCKDIVISION_DIV1;
  htim4.Init.AutoReloadPreload = TIM_AUTORELOAD_PRELOAD_DISABLE;
  if (HAL_TIM_Base_Init(&htim4) != HAL_OK)
  {
    Error_Handler();
  }
  sClockSourceConfig.ClockSource = TIM_CLOCKSOURCE_INTERNAL;
  if (HAL_TIM_ConfigClockSource(&htim4, &sClockSourceConfig) != HAL_OK)
  {
    Error_Handler();
  }
  if (HAL_TIM_PWM_Init(&htim4) != HAL_OK)
  {
    Error_Handler();
  }
  sMasterConfig.MasterOutputTrigger = TIM_TRGO_RESET;
  sMasterConfig.MasterSlaveMode = TIM_MASTERSLAVEMODE_DISABLE;
  if (HAL_TIMEx_MasterConfigSynchronization(&htim4, &sMasterConfig) != HAL_OK)
  {
    Error_Handler();
  }
  sConfigOC.OCMode = TIM_OCMODE_PWM1;
  sConfigOC.Pulse = 0;
  sConfigOC.OCPolarity = TIM_OCPOLARITY_HIGH;
  sConfigOC.OCFastMode = TIM_OCFAST_DISABLE;
  if (HAL_TIM_PWM_ConfigChannel(&htim4, &sConfigOC, TIM_CHANNEL_4) != HAL_OK)
  {
    Error_Handler();
  }
  HAL_TIM_MspPostInit(&htim4);

}

static void MX_GPIO_Init(void)
{
  GPIO_InitTypeDef GPIO_InitStruct = {0};

  /* GPIO Ports Clock Enable */
  __HAL_RCC_GPIOE_CLK_ENABLE();
  __HAL_RCC_GPIOC_CLK_ENABLE();
  __HAL_RCC_GPIOF_CLK_ENABLE();
  __HAL_RCC_GPIOH_CLK_ENABLE();
  __HAL_RCC_GPIOA_CLK_ENABLE();
  __HAL_RCC_GPIOB_CLK_ENABLE();
  __HAL_RCC_GPIOG_CLK_ENABLE();
  __HAL_RCC_GPIOD_CLK_ENABLE();
  HAL_PWREx_EnableVddIO2();

  /*Configure GPIO pin Output Level */
  HAL_GPIO_WritePin(GPIOA, GPIO_PIN_4, GPIO_PIN_RESET);

  /*Configure GPIO pin Output Level */
  HAL_GPIO_WritePin(GPIOB, GPIO_PIN_12|GPIO_PIN_13|GPIO_PIN_3|GPIO_PIN_4
                          |GPIO_PIN_5, GPIO_PIN_RESET);

  /*Configure GPIO pins : PE2 PE3 */
  GPIO_InitStruct.Pin = GPIO_PIN_2|GPIO_PIN_3;
  GPIO_InitStruct.Mode = GPIO_MODE_AF_PP;
  GPIO_InitStruct.Pull = GPIO_NOPULL;
  GPIO_InitStruct.Speed = GPIO_SPEED_FREQ_LOW;
  GPIO_InitStruct.Alternate = GPIO_AF13_SAI1;
  HAL_GPIO_Init(GPIOE, &GPIO_InitStruct);

  /*Configure GPIO pin : PC13 */
  GPIO_InitStruct.Pin = GPIO_PIN_13;
  GPIO_InitStruct.Mode = GPIO_MODE_INPUT;
  GPIO_InitStruct.Pull = GPIO_NOPULL;
  HAL_GPIO_Init(GPIOC, &GPIO_InitStruct);

  /*Configure GPIO pins : PF0 PF1 PF2 */
  GPIO_InitStruct.Pin = GPIO_PIN_0|GPIO_PIN_1|GPIO_PIN_2;
  GPIO_InitStruct.Mode = GPIO_MODE_AF_OD;
  GPIO_InitStruct.Pull = GPIO_NOPULL;
  GPIO_InitStruct.Speed = GPIO_SPEED_FREQ_VERY_HIGH;
  GPIO_InitStruct.Alternate = GPIO_AF4_I2C2;
  HAL_GPIO_Init(GPIOF, &GPIO_InitStruct);

  /*Configure GPIO pin : PF7 */
  GPIO_InitStruct.Pin = GPIO_PIN_7;
  GPIO_InitStruct.Mode = GPIO_MODE_AF_PP;
  GPIO_InitStruct.Pull = GPIO_NOPULL;
  GPIO_InitStruct.Speed = GPIO_SPEED_FREQ_LOW;
  GPIO_InitStruct.Alternate = GPIO_AF13_SAI1;
  HAL_GPIO_Init(GPIOF, &GPIO_InitStruct);

  /*Configure GPIO pins : PC0 PC1 PC2 PC3
                           PC4 PC5 */
  GPIO_InitStruct.Pin = GPIO_PIN_0|GPIO_PIN_1|GPIO_PIN_2|GPIO_PIN_3
                          |GPIO_PIN_4|GPIO_PIN_5;
  GPIO_InitStruct.Mode = GPIO_MODE_ANALOG_ADC_CONTROL;
  GPIO_InitStruct.Pull = GPIO_NOPULL;
  HAL_GPIO_Init(GPIOC, &GPIO_InitStruct);

  /*Configure GPIO pins : PA1 PA3 */
  GPIO_InitStruct.Pin = GPIO_PIN_1|GPIO_PIN_3;
  GPIO_InitStruct.Mode = GPIO_MODE_ANALOG_ADC_CONTROL;
  GPIO_InitStruct.Pull = GPIO_NOPULL;
  HAL_GPIO_Init(GPIOA, &GPIO_InitStruct);

  /*Configure GPIO pin : PA4 */
  GPIO_InitStruct.Pin = GPIO_PIN_4;
  GPIO_InitStruct.Mode = GPIO_MODE_OUTPUT_PP;
  GPIO_InitStruct.Pull = GPIO_NOPULL;
  GPIO_InitStruct.Speed = GPIO_SPEED_FREQ_LOW;
  HAL_GPIO_Init(GPIOA, &GPIO_InitStruct);

  /*Configure GPIO pins : PA5 PA6 PA7 */
  GPIO_InitStruct.Pin = GPIO_PIN_5|GPIO_PIN_6|GPIO_PIN_7;
  GPIO_InitStruct.Mode = GPIO_MODE_AF_PP;
  GPIO_InitStruct.Pull = GPIO_NOPULL;
  GPIO_InitStruct.Speed = GPIO_SPEED_FREQ_VERY_HIGH;
  GPIO_InitStruct.Alternate = GPIO_AF5_SPI1;
  HAL_GPIO_Init(GPIOA, &GPIO_InitStruct);

  /*Configure GPIO pin : PB1 */
  GPIO_InitStruct.Pin = GPIO_PIN_1;
  GPIO_InitStruct.Mode = GPIO_MODE_ANALOG_ADC_CONTROL;
  GPIO_InitStruct.Pull = GPIO_NOPULL;
  HAL_GPIO_Init(GPIOB, &GPIO_InitStruct);

  /*Configure GPIO pins : PB2 PB6 */
  GPIO_InitStruct.Pin = GPIO_PIN_2|GPIO_PIN_6;
  GPIO_InitStruct.Mode = GPIO_MODE_ANALOG;
  GPIO_InitStruct.Pull = GPIO_NOPULL;
  HAL_GPIO_Init(GPIOB, &GPIO_InitStruct);

  /*Configure GPIO pin : PG0 */
  GPIO_InitStruct.Pin = GPIO_PIN_0;
  GPIO_InitStruct.Mode = GPIO_MODE_INPUT;
  GPIO_InitStruct.Pull = GPIO_NOPULL;
  HAL_GPIO_Init(GPIOG, &GPIO_InitStruct);

  /*Configure GPIO pins : PB12 PB13 PB3 PB4
                           PB5 */
  GPIO_InitStruct.Pin = GPIO_PIN_12|GPIO_PIN_13|GPIO_PIN_3|GPIO_PIN_4
                          |GPIO_PIN_5;
  GPIO_InitStruct.Mode = GPIO_MODE_OUTPUT_PP;
  GPIO_InitStruct.Pull = GPIO_NOPULL;
  GPIO_InitStruct.Speed = GPIO_SPEED_FREQ_LOW;
  HAL_GPIO_Init(GPIOB, &GPIO_InitStruct);

  /*Configure GPIO pin : PB14 */
  GPIO_InitStruct.Pin = GPIO_PIN_14;
  GPIO_InitStruct.Mode = GPIO_MODE_AF_PP;
  GPIO_InitStruct.Pull = GPIO_NOPULL;
  GPIO_InitStruct.Speed = GPIO_SPEED_FREQ_LOW;
  GPIO_InitStruct.Alternate = GPIO_AF14_TIM15;
  HAL_GPIO_Init(GPIOB, &GPIO_InitStruct);

  /*Configure GPIO pin : PB15 */
  GPIO_InitStruct.Pin = GPIO_PIN_15;
  GPIO_InitStruct.Mode = GPIO_MODE_AF_PP;
  GPIO_InitStruct.Pull = GPIO_NOPULL;
  GPIO_InitStruct.Speed = GPIO_SPEED_FREQ_LOW;
  GPIO_InitStruct.Alternate = GPIO_AF13_SAI2;
  HAL_GPIO_Init(GPIOB, &GPIO_InitStruct);

  /*Configure GPIO pins : PD8 PD9 */
  GPIO_InitStruct.Pin = GPIO_PIN_8|GPIO_PIN_9;
  GPIO_InitStruct.Mode = GPIO_MODE_AF_PP;
  GPIO_InitStruct.Pull = GPIO_NOPULL;
  GPIO_InitStruct.Speed = GPIO_SPEED_FREQ_VERY_HIGH;
  GPIO_InitStruct.Alternate = GPIO_AF7_USART3;
  HAL_GPIO_Init(GPIOD, &GPIO_InitStruct);

  /*Configure GPIO pin : PC6 */
  GPIO_InitStruct.Pin = GPIO_PIN_6;
  GPIO_InitStruct.Mode = GPIO_MODE_AF_PP;
  GPIO_InitStruct.Pull = GPIO_NOPULL;
  GPIO_InitStruct.Speed = GPIO_SPEED_FREQ_LOW;
  GPIO_InitStruct.Alternate = GPIO_AF13_SAI2;
  HAL_GPIO_Init(GPIOC, &GPIO_InitStruct);

  /*Configure GPIO pins : PC8 PC9 PC10 PC11
                           PC12 */
  GPIO_InitStruct.Pin = GPIO_PIN_8|GPIO_PIN_9|GPIO_PIN_10|GPIO_PIN_11
                          |GPIO_PIN_12;
  GPIO_InitStruct.Mode = GPIO_MODE_AF_PP;
  GPIO_InitStruct.Pull = GPIO_NOPULL;
  GPIO_InitStruct.Speed = GPIO_SPEED_FREQ_VERY_HIGH;
  GPIO_InitStruct.Alternate = GPIO_AF12_SDMMC1;
  HAL_GPIO_Init(GPIOC, &GPIO_InitStruct);

  /*Configure GPIO pins : PA8 PA10 */
  GPIO_InitStruct.Pin = GPIO_PIN_8|GPIO_PIN_10;
  GPIO_InitStruct.Mode = GPIO_MODE_AF_PP;
  GPIO_InitStruct.Pull = GPIO_NOPULL;
  GPIO_InitStruct.Speed = GPIO_SPEED_FREQ_VERY_HIGH;
  GPIO_InitStruct.Alternate = GPIO_AF10_OTG_FS;
  HAL_GPIO_Init(GPIOA, &GPIO_InitStruct);

  /*Configure GPIO pin : PA9 */
  GPIO_InitStruct.Pin = GPIO_PIN_9;
  GPIO_InitStruct.Mode = GPIO_MODE_INPUT;
  GPIO_InitStruct.Pull = GPIO_NOPULL;
  HAL_GPIO_Init(GPIOA, &GPIO_InitStruct);

  /*Configure GPIO pin : PD0 */
  GPIO_InitStruct.Pin = GPIO_PIN_0;
  GPIO_InitStruct.Mode = GPIO_MODE_AF_PP;
  GPIO_InitStruct.Pull = GPIO_NOPULL;
  GPIO_InitStruct.Speed = GPIO_SPEED_FREQ_VERY_HIGH;
  GPIO_InitStruct.Alternate = GPIO_AF9_CAN1;
  HAL_GPIO_Init(GPIOD, &GPIO_InitStruct);

  /*Configure GPIO pin : PD1 */
  GPIO_InitStruct.Pin = GPIO_PIN_1;
  GPIO_InitStruct.Mode = GPIO_MODE_INPUT;
  GPIO_InitStruct.Pull = GPIO_NOPULL;
  HAL_GPIO_Init(GPIOD, &GPIO_InitStruct);

  /*Configure GPIO pin : PD2 */
  GPIO_InitStruct.Pin = GPIO_PIN_2;
  GPIO_InitStruct.Mode = GPIO_MODE_AF_PP;
  GPIO_InitStruct.Pull = GPIO_NOPULL;
  GPIO_InitStruct.Speed = GPIO_SPEED_FREQ_VERY_HIGH;
  GPIO_InitStruct.Alternate = GPIO_AF12_SDMMC1;
  HAL_GPIO_Init(GPIOD, &GPIO_InitStruct);

}

/* USER CODE BEGIN 4 */
#ifdef __GNUC__
#define PUTCHAR_PROTOTYPE int __io_putchar(int ch)
#else
  #define PUTCHAR_PROTOTYPE int fputc(int ch, FILE *f)
#endif /* __GNUC__ */
PUTCHAR_PROTOTYPE
{
  HAL_UART_Transmit(&hlpuart1, (uint8_t *)&ch, 1, 0xFFFF);
  return ch;
}

void HAL_UART_RxCpltCallback(UART_HandleTypeDef *huart){
	if (uart_buf[0] == '3') {
		send_off = 1;
	} else if (uart_buf[0] == 'D') {
		armed = 0;
	} else if (uart_buf[0] == 'A') {
		armed = 1;
	}
	HAL_UART_Receive_IT(&huart2, uart_buf, 1);
}

/* USER CODE END 4 */

void Error_Handler(void)
{
  __disable_irq();
  while (1)
  {
  }
}
